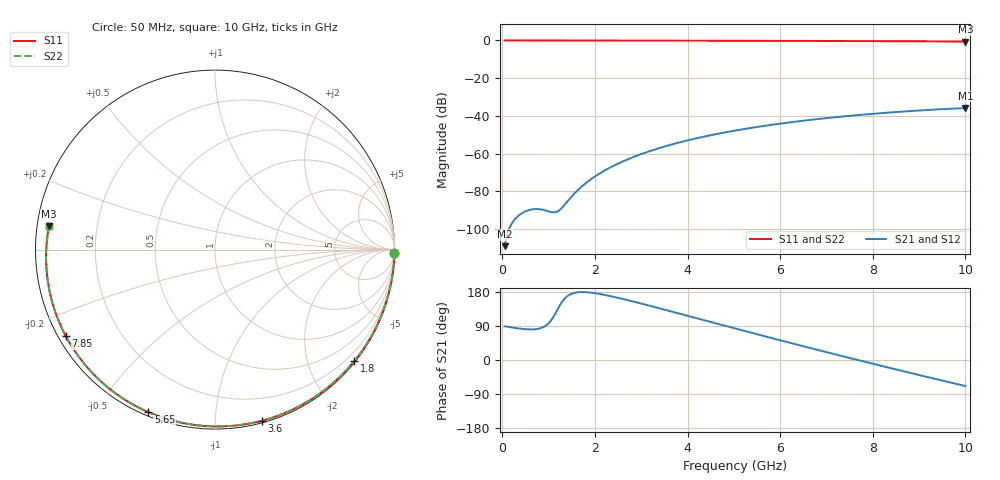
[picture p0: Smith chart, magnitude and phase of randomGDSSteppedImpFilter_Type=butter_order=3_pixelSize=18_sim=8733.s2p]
! freq	dB(S11)	phase(S11)	dB(S12)	phase(S12)
!  dB(S21)	phase(S21)	dB(S22)	phase(S22)
!S-par simulation data
#  GHz  S  DB  R 50
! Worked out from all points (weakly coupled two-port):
!   200 points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, 50 MHz to 10 GHz, reference 50 ohm
!   highest |S21| = -35.81 dB at 10 GHz (marker M1); lowest = -109.0 dB at 50 MHz (marker M2)
!   lowest |S11| = -0.6 dB at 10 GHz (marker M3), VSWR 29.29, Z = 1.72 + j3.52 ohm
!   |S11| at or under -10 dB: nowhere
!   |S22| runs from -0.6 to 0.0 dB; largest |S21 - S12| = 0
!   S11 on the Smith chart (normalised r, x): 50 MHz: open; 1.8 GHz: 0.03, -2.85; 3.6 GHz: 0.02, -1.31; 5.65 GHz: 0.02, -0.67; 7.85 GHz: 0.02, -0.27; 10 GHz: 0.03, +0.07
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0.05  -0.00 -1.1  -109.01 89.0  -109.01 89.0  -0.00 -1.1
0.4  -0.01 -8.8  -91.92 82.5  -91.92 82.5  -0.01 -8.8
0.8  -0.02 -17.4  -89.42 83.1  -89.42 83.1  -0.02 -17.4
1.2  -0.03 -26.0  -90.52 135.1  -90.52 135.1  -0.03 -26.0
1.6  -0.04 -34.5  -80.05 178.2  -80.05 178.2  -0.04 -34.5
1.75  -0.05 -37.6  -76.68 179.3  -76.68 179.3  -0.05 -37.6
1.8  -0.05 -38.6  -75.67 179.0  -75.67 179.0  -0.05 -38.7
2.1  -0.06 -44.9  -70.52 174.3  -70.52 174.3  -0.06 -44.9
2.5  -0.07 -53.1  -65.26 164.1  -65.26 164.1  -0.07 -53.1
2.9  -0.08 -61.1  -61.12 152.1  -61.12 152.1  -0.08 -61.1
3.4  -0.09 -70.9  -56.96 136.2  -56.96 136.2  -0.09 -70.9
3.6  -0.10 -74.8  -55.52 129.7  -55.52 129.7  -0.10 -74.8
4.3  -0.12 -88.0  -51.26 106.9  -51.26 106.9  -0.12 -88.0
5.05  -0.16 -101.6  -47.65 82.5  -47.65 82.5  -0.16 -101.7
5.65  -0.19 -112.3  -45.29 63.2  -45.29 63.2  -0.19 -112.3
6.15  -0.22 -121.0  -43.59 47.3  -43.59 47.3  -0.22 -121.0
6.7  -0.25 -130.4  -41.96 30.0  -41.96 30.0  -0.25 -130.4
7.3  -0.30 -140.6  -40.41 11.5  -40.41 11.5  -0.30 -140.6
7.85  -0.35 -150.0  -39.18 -5.3  -39.18 -5.3  -0.35 -150.0
8.35  -0.40 -158.6  -38.20 -20.4  -38.20 -20.4  -0.40 -158.6
9.2  -0.49 -173.5  -36.81 -45.6  -36.81 -45.6  -0.49 -173.5
10  -0.59 171.9  -35.81 -68.8  -35.81 -68.8  -0.59 171.9
